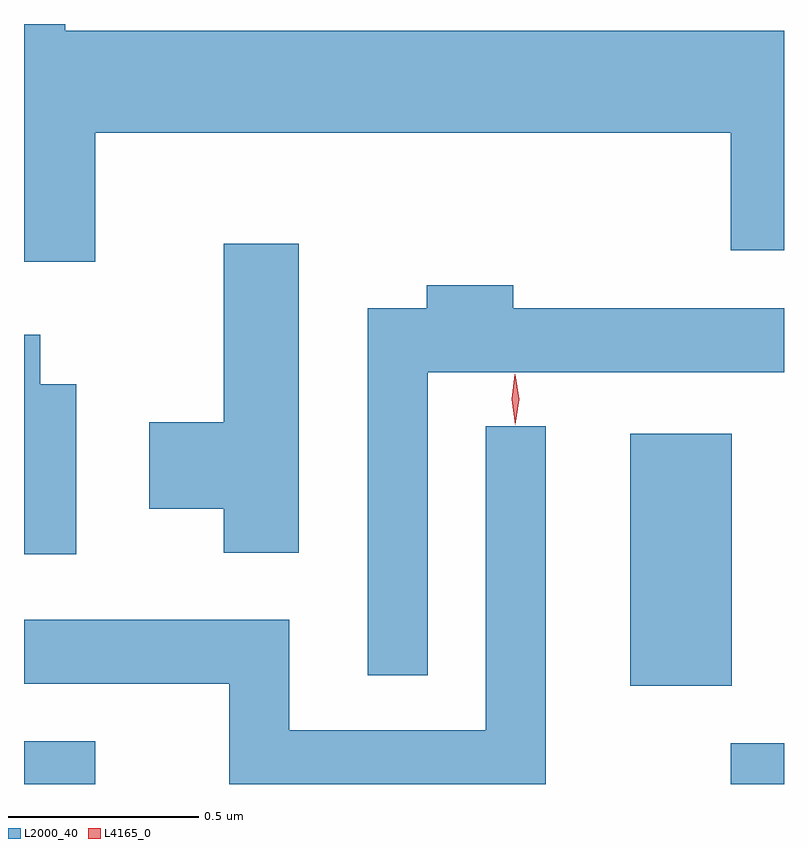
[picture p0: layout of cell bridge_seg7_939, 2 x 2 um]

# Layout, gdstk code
import gdstk
lib = gdstk.Library(unit=1e-6, precision=1e-09)
def R(c, l, rs):  # rectangles x0, y0, x1, y1
    for r in rs: c.add(gdstk.rectangle(r[:2], r[2:], *l))
def P(c, l, *ps):  # polygons
    for p in ps: c.add(gdstk.Polygon(p, *l))
L2000_40 = (2000, 40)
L4165_0 = (4165, 0)

bridge_seg7_939 = lib.new_cell('bridge_seg7_939')
R(bridge_seg7_939, L2000_40, [(426.781,1723.702,426.969,1723.814), (428.641,1723.702,428.781,1723.809), (428.376,1723.961,428.644,1724.624)])
P(bridge_seg7_939, L2000_40, [(426.969,1725.416),(428.641,1725.416),(428.641,1725.106),(428.781,1725.106),(428.781,1725.684),(426.889,1725.684),(426.889,1725.702),(426.781,1725.702),(426.781,1725.076),(426.969,1725.076)],
  [(427.504,1725.124),(427.306,1725.124),(427.306,1724.654),(427.111,1724.654),(427.111,1724.426),(427.306,1724.426),(427.306,1724.311),(427.504,1724.311)],
  [(427.844,1724.786),(428.781,1724.786),(428.781,1724.954),(428.069,1724.954),(428.069,1725.014),(427.841,1725.014),(427.841,1724.954),(427.686,1724.954),(427.686,1723.988),(427.844,1723.988)],
  [(426.919,1724.754),(426.824,1724.754),(426.824,1724.884),(426.781,1724.884),(426.781,1724.306),(426.919,1724.306)],
  [(428.154,1724.643),(427.996,1724.643),(427.996,1723.844),(427.479,1723.844),(427.479,1724.134),(426.781,1724.134),(426.781,1723.966),(427.321,1723.966),(427.321,1723.702),(428.154,1723.702)])
P(bridge_seg7_939, L4165_0, [(428.074,1724.647),(428.074,1724.647),(428.064,1724.714),(428.073,1724.78),(428.074,1724.78),(428.074,1724.78),(428.084,1724.714),(428.074,1724.647)])

lib.write_gds('bridge_seg7_939.gds')
